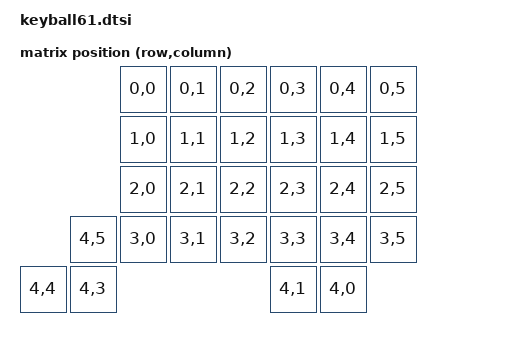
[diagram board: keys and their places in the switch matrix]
#include <physical_layouts.dtsi>
#include <zephyr/dt-bindings/input/input-event-codes.h>
#include <input/processors.dtsi>
#include <input/processors/runtime-input-processor.dtsi>
#include <dt-bindings/zmk/matrix_transform.h>


/ {
    chosen {
        zephyr,display = &oled;
        zmk,physical-layout = &keyball_physical_layout;
        // 変更箇所：zmk,kscan の行を完全に削除（あるいは元通り未指定に）して親側の自動割当に任せます
    };
    
    keyball_physical_layout: keyball_physical_layout {
        compatible = "zmk,physical-layout";
        display-name = "Default";
        transform = <&default_transform>;
        kscan = <&kscan0>;

        keys  //                     w   h    x    y     rot    rx    ry
            = <&key_physical_attrs 100 100    0   50       0     0     0>
            , <&key_physical_attrs 100 100  100   50       0     0     0>
            , <&key_physical_attrs 100 100  200   25       0     0     0>
            , <&key_physical_attrs 100 100  300    0       0     0     0>
            , <&key_physical_attrs 100 100  400   25       0     0     0>
            , <&key_physical_attrs 100 100  500   45       0     0     0>
            , <&key_physical_attrs 100 100 1000   45       0     0     0>
            , <&key_physical_attrs 100 100 1100   25       0     0     0>
            , <&key_physical_attrs 100 100 1200    0       0     0     0>
            , <&key_physical_attrs 100 100 1300   25       0     0     0>
            , <&key_physical_attrs 100 100 1400   50       0     0     0>
            , <&key_physical_attrs 100 100 1500   50       0     0     0>
            , <&key_physical_attrs 100 100    0  150       0     0     0>
            , <&key_physical_attrs 100 100  100  150       0     0     0>
            , <&key_physical_attrs 100 100  200  125       0     0     0>
            , <&key_physical_attrs 100 100  300  100       0     0     0>
            , <&key_physical_attrs 100 100  400  125       0     0     0>
            , <&key_physical_attrs 100 100  500  145       0     0     0>
            , <&key_physical_attrs 100 100 1000  145       0     0     0>
            , <&key_physical_attrs 100 100 1100  125       0     0     0>
            , <&key_physical_attrs 100 100 1200  100       0     0     0>
            , <&key_physical_attrs 100 100 1300  125       0     0     0>
            , <&key_physical_attrs 100 100 1400  150       0     0     0>
            , <&key_physical_attrs 100 100 1500  150       0     0     0>
            , <&key_physical_attrs 100 100    0  250       0     0     0>
            , <&key_physical_attrs 100 100  100  250       0     0     0>
            , <&key_physical_attrs 100 100  200  225       0     0     0>
            , <&key_physical_attrs 100 100  300  200       0     0     0>
            , <&key_physical_attrs 100 100  400  225       0     0     0>
            , <&key_physical_attrs 100 100  500  245       0     0     0>
            , <&key_physical_attrs 100 100 1000  245       0     0     0>
            , <&key_physical_attrs 100 100 1100  225       0     0     0>
            , <&key_physical_attrs 100 100 1200  200       0     0     0>
            , <&key_physical_attrs 100 100 1300  225       0     0     0>
            , <&key_physical_attrs 100 100 1400  250       0     0     0>
            , <&key_physical_attrs 100 100 1500  250       0     0     0>
            , <&key_physical_attrs 100 100    0  350       0     0     0>
            , <&key_physical_attrs 100 100  100  350       0     0     0>
            , <&key_physical_attrs 100 100  200  325       0     0     0>
            , <&key_physical_attrs 100 100  300  300       0     0     0>
            , <&key_physical_attrs 100 100  400  325       0     0     0>
            , <&key_physical_attrs 100 100  500  345       0     0     0>
            , <&key_physical_attrs 100 100  600  345       0     0     0>
            , <&key_physical_attrs 100 100  900  345       0     0     0>
            , <&key_physical_attrs 100 100 1000  345       0     0     0>
            , <&key_physical_attrs 100 100 1100  325       0     0     0>
            , <&key_physical_attrs 100 100 1200  300       0     0     0>
            , <&key_physical_attrs 100 100 1300  325       0     0     0>
            , <&key_physical_attrs 100 100 1400  350       0     0     0>
            , <&key_physical_attrs 100 100 1500  350       0     0     0>
            , <&key_physical_attrs 100 100    0  450       0     0     0>
            , <&key_physical_attrs 100 100  100  450       0     0     0>
            , <&key_physical_attrs 100 100  200  425       0     0     0>
            , <&key_physical_attrs 100 100  300  400       0     0     0>
            , <&key_physical_attrs 100 100  450  450       0     0     0>
            , <&key_physical_attrs 100 100  550  450       0     0     0>
            , <&key_physical_attrs 100 100  650  450       0     0     0>
            , <&key_physical_attrs 100 100  850  450       0     0     0>
            , <&key_physical_attrs 100 100  950  450       0     0     0>
            , <&key_physical_attrs 100 100 1400  450       0     0     0>
            , <&key_physical_attrs 100 100 1500  450       0     0     0>
            ;
    };


       right_transform: keymap_transform_1 {
        compatible = "zmk,matrix-transform";
        columns = <13>;
        rows = <5>;
        /*
         * 右手単体時に物理マトリクスの RC(row, col) を 
         * キーマップ（12列構成）の右半分へ正確に誘導します
         */
        map = <
                                                             RC(0,0) RC(0,1) RC(0,2) RC(0,3) RC(0,4) RC(0,5)
                                                             RC(1,0) RC(1,1) RC(1,2) RC(1,3) RC(1,4) RC(1,5)
                                                             RC(2,0) RC(2,1) RC(2,2) RC(2,3) RC(2,4) RC(2,5)
                                                     RC(4,5) RC(3,0) RC(3,1) RC(3,2) RC(3,3) RC(3,4) RC(3,5)
                                             RC(4,4) RC(4,3)                         RC(4,1) RC(4,0)
        >;
    };

    // 変更箇所：kscan0 のドライバー自体を mock に変更し、行列の競合を根本解決します
    kscan0: kscan {
        compatible = "zmk,kscan-mock";
        columns = <13>;
        rows = <5>;
        events = <0>;
    };
};

&spi1 {
    trackball: trackball@0 {
        compatible = "cormoran,pmw3610";
        reg = <0>;
        status = "disabled";
    };
};
